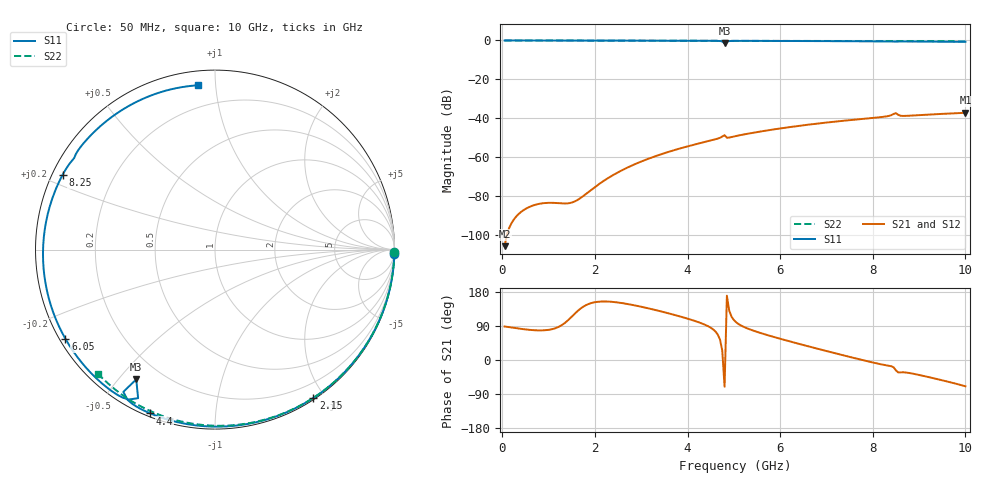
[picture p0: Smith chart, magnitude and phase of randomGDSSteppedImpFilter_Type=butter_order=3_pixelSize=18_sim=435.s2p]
! freq	dB(S11)	phase(S11)	dB(S12)	phase(S12)
!  dB(S21)	phase(S21)	dB(S22)	phase(S22)
!S-par simulation data
#  GHz  S  DB  R 50
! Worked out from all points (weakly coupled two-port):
!   200 points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, 50 MHz to 10 GHz, reference 50 ohm
!   highest |S21| = -37.12 dB at 10 GHz (marker M1); lowest = -105.5 dB at 50 MHz (marker M2)
!   lowest |S11| = -1.5 dB at 4.8 GHz (marker M3), VSWR 11.98, Z = 5.48 - j27.9 ohm
!   |S11| at or under -10 dB: nowhere
!   |S22| runs from -0.4 to 0.0 dB; largest |S21 - S12| = 0
!   S11 on the Smith chart (normalised r, x): 50 MHz: 1, -84; 2.15 GHz: 0.02, -1.86; 4.4 GHz: 0.01, -0.68; 6.05 GHz: 0.02, -0.28; 8.25 GHz: 0.03, +0.23; 10 GHz: 0.08, +0.90
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0.05  -0.00 -1.4  -105.53 88.4  -105.53 88.4  -0.00 -0.8
0.85  -0.03 -22.8  -83.59 78.1  -83.59 78.1  -0.02 -13.0
1.75  -0.06 -46.3  -79.77 140.8  -79.77 140.8  -0.03 -26.6
2.15  -0.07 -56.5  -72.67 154.4  -72.67 154.4  -0.04 -32.5
2.7  -0.09 -70.3  -65.24 147.9  -65.24 147.9  -0.05 -40.6
3.4  -0.11 -87.4  -58.61 129.1  -58.61 129.1  -0.07 -50.6
4.4  -0.16 -111.5  -51.93 91.7  -51.93 91.7  -0.09 -64.5
4.65  -0.22 -118.4  -50.38 67.7  -50.38 67.7  -0.10 -67.9
4.75  -0.51 -122.8  -49.27 24.7  -49.27 24.7  -0.10 -69.2
4.8  -1.45 -121.3  -48.62 -70.6  -48.62 -70.6  -0.11 -69.9
4.85  -0.61 -117.4  -49.90 169.6  -49.90 169.6  -0.11 -70.5
5.05  -0.22 -124.9  -49.00 99.5  -49.00 99.5  -0.11 -73.2
6.05  -0.26 -149.2  -44.97 54.4  -44.97 54.4  -0.15 -86.2
6.7  -0.32 -165.0  -42.94 33.1  -42.94 33.1  -0.18 -94.3
7.5  -0.39 174.6  -40.88 8.2  -40.88 8.2  -0.23 -104.1
8.25  -0.49 153.9  -39.11 -13.1  -39.11 -13.1  -0.28 -113.0
8.35  -0.51 150.9  -38.70 -15.3  -38.70 -15.3  -0.29 -114.2
8.5  -0.58 146.9  -37.31 -27.5  -37.31 -27.5  -0.30 -115.9
8.65  -0.52 142.3  -38.72 -32.4  -38.72 -32.4  -0.31 -117.7
9.15  -0.58 126.3  -38.08 -43.5  -38.08 -43.5  -0.36 -123.5
9.6  -0.64 110.8  -37.56 -56.5  -37.56 -56.5  -0.40 -128.7
10  -0.72 95.8  -37.12 -69.4  -37.12 -69.4  -0.45 -133.3
